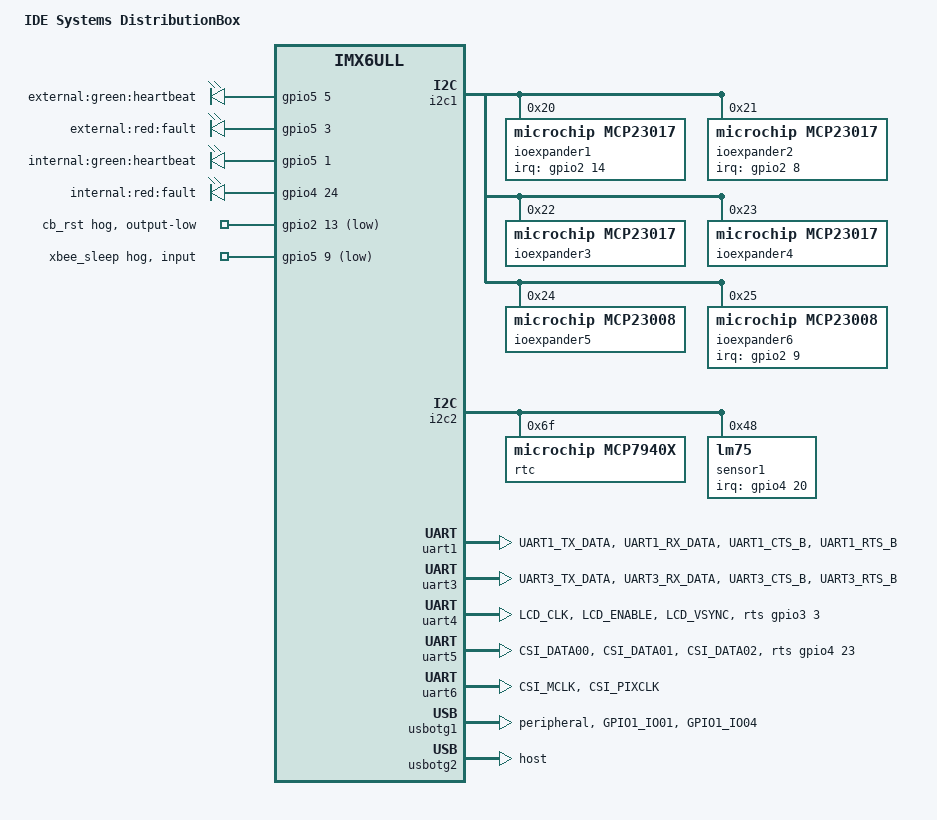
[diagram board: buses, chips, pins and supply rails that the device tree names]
/*
 * Copyright (C) 2018 Amotus Solutions, Inc.
 */

#include "imx6ull-dart6ul.dtsi"
#include "imx6ull-dart6ul-emmc-wifi.dtsi"
#include "imx6ull-dart6ul-ethernet.dtsi"

/ {
	model = "IDE Systems DistributionBox";
	compatible = "ide,imx6ull-dart6ul-ide", "fsl,imx6ull";

	chosen {
		stdout-path = &uart1;
	};

	leds {
		pinctrl-names = "default";
		pinctrl-0 = <&pinctrl_led1 &pinctrl_led2>;

		compatible = "gpio-leds";

		led1 {
			label = "external:green:heartbeat";
			gpios = <&gpio5 5 GPIO_ACTIVE_HIGH>;
			linux,default-trigger = "heartbeat";
			default-state = "on";
		};

		led2 {
			label = "external:red:fault";
			gpios = <&gpio5 3 GPIO_ACTIVE_HIGH>;
			default-state = "on";
		};

		led3 {
			label = "internal:green:heartbeat";
			gpios = <&gpio5 1 GPIO_ACTIVE_HIGH>;
			linux,default-trigger = "heartbeat";
			default-state = "on";
		};

		led4 {
			label = "internal:red:fault";
			gpios = <&gpio4 24 GPIO_ACTIVE_HIGH>;
			default-state = "on";
		};
	};
};

&wdog1 {
	pinctrl-names = "default";
	pinctrl-0 = <&pinctrl_wdog>;
	fsl,ext-reset-output;
};

&i2c1 {
	/* breaker status inputs 1-16 */
	ioexpander1: ioexpander@20 {
		compatible = "microchip,mcp23017";
		gpio-controller;
		#gpio-cells = <2>;
		reg = <0x20>;
		gpio-line-names = "BR1", "BR2", "BR3", "BR4", "BR5", "BR6", "BR7", "BR8",
				  "BR9", "BR10", "BR11", "BR12", "BR13", "BR14", "BR15", "BR16";

		interrupt-parent = <&gpio2>;
		interrupts = <14 IRQ_TYPE_LEVEL_LOW>;
		interrupt-controller;
		#interrupt-cells = <2>;
		microchip,irq-mirror;
	};

	/* breaker status inputs 17-32 */
	ioexpander2: ioexpander@21 {
		compatible = "microchip,mcp23017";
		gpio-controller;
		#gpio-cells = <2>;
		reg = <0x21>;
		gpio-line-names = "BR17", "BR18", "BR19", "BR20", "BR21", "BR22", "BR23", "BR24",
				  "BR25", "BR26", "BR27", "BR28", "BR29", "BR30", "BR31", "BR32";

		interrupt-parent = <&gpio2>;
		interrupts = <8 IRQ_TYPE_LEVEL_LOW>;
		interrupt-controller;
		#interrupt-cells = <2>;
		microchip,irq-mirror;
	};

	/* contactor control outputs 1-16 */
	ioexpander3: ioexpander@22 {
		compatible = "microchip,mcp23017";
		gpio-controller;
		#gpio-cells = <2>;
		reg = <0x22>;
		gpio-line-names = "CON1", "CON2", "CON3", "CON4", "CON5", "CON6", "CON7", "CON8",
				  "CON9", "CON10", "CON11", "CON12", "CON13", "CON14", "CON15", "CON16";
	};

	/* contactor control outputs 17-32 */
	ioexpander4: ioexpander@23 {
		compatible = "microchip,mcp23017";
		gpio-controller;
		#gpio-cells = <2>;
		reg = <0x23>;
		gpio-line-names = "CON17", "CON18", "CON19", "CON20", "CON21", "CON22", "CON23", "CON24",
				  "CON25", "CON26", "CON27", "CON28", "CON29", "CON30", "CON31", "CON32";
	};

	/* relay outputs 1-8 */
	ioexpander5: ioexpander@24 {
		compatible = "microchip,mcp23008";
		gpio-controller;
		#gpio-cells = <2>;
		reg = <0x24>;
		gpio-line-names = "RL1", "RL2", "RL3", "RL4", "RL5", "RL6", "RL7", "RL8";
	};

	/* switch inputs 1-8 */
	ioexpander6: ioexpander6@25 {
		compatible = "microchip,mcp23008";
		gpio-controller;
		#gpio-cells = <2>;
		reg = <0x25>;
		gpio-line-names = "SW1", "SW2", "SW3", "SW4", "SW5", "SW6", "SW7", "SW8";

		interrupt-parent = <&gpio2>;
		interrupts = <9 IRQ_TYPE_LEVEL_LOW>;
		interrupt-controller;
		#interrupt-cells = <2>;
	};
};

&i2c2 {
	rtc: mcp7940x@6f {
		compatible = "microchip,mcp7940x";
		reg = <0x6f>;
	};

	sensor1: lm75@48 {
		compatible = "lm75";
		reg = <0x48>;
		interrupt-parent = <&gpio4>;
		interrupts = <20 IRQ_TYPE_LEVEL_LOW>;
		#thermal-sensor-cells = <0>;
	};
};

/* ttymxc0 uart - debug uart */
&uart1 {
	pinctrl-names = "default";
	pinctrl-0 = <&pinctrl_uart1>;
	uart-has-rtscts;
	status = "okay";
};

/* ttymxc2 uart - xbee */
&uart3 {
	pinctrl-names = "default";
	pinctrl-0 = <&pinctrl_uart3>;
	uart-has-rtscts;
	status = "okay";
};

/* ttymxc3 uart - rs485-1 */
&uart4 {
	pinctrl-names = "default";
	pinctrl-0 = <&pinctrl_uart4>;
	linux,rs485-enabled-at-boot-time;
	rts-gpios = <&gpio3 3 GPIO_ACTIVE_HIGH>;
	status = "okay";
};

/* ttymxc4 uart - rs485-2 */
&uart5 {
	pinctrl-names = "default";
	pinctrl-0 = <&pinctrl_uart5>;
	linux,rs485-enabled-at-boot-time;
	rts-gpios = <&gpio4 23 GPIO_ACTIVE_HIGH>;
	status = "okay";
};

/* ttymxc5 uart - gps */
&uart6 {
	pinctrl-names = "default";
	pinctrl-0 = <&pinctrl_uart6>;
	status = "okay";
};

/* DTE mode */
/* /\* ttymxc3 uart - rs485-1 *\/ */
/* &uart4 { */
/* 	pinctrl-names = "default"; */
/* 	pinctrl-0 = <&pinctrl_uart4>; */
/* 	linux,rs485-enabled-at-boot-time; */
/* 	uart-has-rtscts; */
/* 	fsl,dte-mode; */
/* 	status = "okay"; */
/* }; */

/* /\* ttymxc4 uart - rs485-2 *\/ */
/* &uart5 { */
/* 	pinctrl-names = "default"; */
/* 	pinctrl-0 = <&pinctrl_uart5>; */
/* 	linux,rs485-enabled-at-boot-time; */
/* 	uart-has-rtscts; */
/* 	fsl,dte-mode; */
/* 	status = "okay"; */
/* }; */

&usbotg1 {
	pinctrl-names = "default";
	pinctrl-0 = <&pinctrl_usbotg1>;
	dr_mode = "peripheral";
	status = "okay";
};

&usbotg2 {
	dr_mode = "host";
	disable-over-current;
	status = "okay";
};

&gpio1 {
	gpio-line-names = "CB_GPIOF", "", "", "", "", "CB_GPIOE", "", "",
	"", "", "", "", "", "", "", "",
	"", "", "", "", "", "", "", "",
	"", "", "", "", "", "", "", "";
};

&gpio2 {
	gpio-line-names = "", "", "", "", "", "", "", "",
	"", "", "CB_ID0", "CB_ID1", "CB_GPIOA", "CB_RST", "", "CB_GPIOB",
	"", "", "", "", "", "", "", "",
	"", "", "", "", "", "", "", "";

	cb_rst {
		gpios = <13 GPIO_ACTIVE_LOW>;
		gpio-hog;
		output-low;
	};
};

&gpio4 {
	gpio-line-names = "", "", "", "", "", "", "", "",
	"", "", "", "", "", "", "", "",
	"", "", "", "", "", "", "", "",
	"", "METER_PC7", "METER_PC8", "METER_PC10", "METER_PC9", "", "", "";
};

&gpio5 {
	gpio-line-names = "", "", "", "", "", "", "", "",
	"XBEE_RST", "XBEE_SLEEP", "", "", "", "", "", "",
	"", "", "", "", "", "", "", "",
	"", "", "", "", "", "", "", "";

	xbee_sleep {
		gpios = <9 GPIO_ACTIVE_LOW>;
		gpio-hog;
		input;
	};
};

&iomuxc {
	pinctrl-names = "default";
	pinctrl-0 = <&pinctrl_hog1>;

	pinctrl_hog1: hog1grp {
		fsl,pins = <
		/* Control board gpios */
		MX6UL_PAD_ENET2_RX_DATA0__GPIO2_IO08   0x1b0b0 /* J1-37: CB_INT1 */
		MX6UL_PAD_ENET2_RX_DATA1__GPIO2_IO09   0x1b0b0 /* J1-39: CB_INT2 */
		MX6UL_PAD_ENET2_RX_EN__GPIO2_IO10      0x1b0b0 /* J1-31: CB_ID0 */
		MX6UL_PAD_ENET2_TX_DATA0__GPIO2_IO11   0x1b0b0 /* J1-43: CB_ID1 */
		MX6UL_PAD_ENET2_TX_DATA1__GPIO2_IO12   0x1b0b0 /* J1-35: CB_GPIOA */
		MX6UL_PAD_ENET2_TX_EN__GPIO2_IO13      0x1b0b0 /* J1-45: CB_RST */
		MX6UL_PAD_ENET2_TX_CLK__GPIO2_IO14     0x1b0b0 /* J1-57: CB_INT0 */
		MX6UL_PAD_ENET2_RX_ER__GPIO2_IO15      0x1b0b0 /* J1-55: CB_GPIOB */
		/* These pads are used internally by the ethernet phy */
		/* MX6UL_PAD_GPIO1_IO06__GPIO1_IO06       0x1b0b0 /\* J2-75: CB_GPIOC *\/ */
		/* MX6UL_PAD_GPIO1_IO07__GPIO1_IO07       0x1b0b0 /\* J2-79: CB_GPIOD *\/ */
		MX6UL_PAD_GPIO1_IO05__GPIO1_IO05       0x1b0b0 /* J2-27: CB_GPIOE */
		MX6UL_PAD_GPIO1_IO00__GPIO1_IO00       0x1b0b0 /* J2-60: CB_GPIOF */
		/* Meter gpios */
		MX6UL_PAD_CSI_DATA04__GPIO4_IO25       0x1b0b0 /* METER_PC7 */
		MX6UL_PAD_CSI_DATA05__GPIO4_IO26       0x1b0b0 /* METER_PC8 */
		MX6UL_PAD_CSI_DATA06__GPIO4_IO27       0x1b0b0 /* METER_PC10 */
		MX6UL_PAD_CSI_DATA07__GPIO4_IO28       0x1b0b0 /* METER_PC9 */
		>;
	};

	pinctrl_uart1: uart1grp {
		fsl,pins = <
		MX6UL_PAD_UART1_TX_DATA__UART1_DCE_TX	0x1b0b1
		MX6UL_PAD_UART1_RX_DATA__UART1_DCE_RX	0x1b0b1
		MX6UL_PAD_UART1_CTS_B__UART1_DCE_CTS	0x1b0b1
		MX6UL_PAD_UART1_RTS_B__UART1_DCE_RTS	0x1b0b1
		>;
	};

	pinctrl_sensor: sensorgrp {
		fsl,pins = <
		MX6UL_PAD_CSI_HSYNC__GPIO4_IO20	       0x1b0b0 /* Over temperature irq */
		>;
	};

	pinctrl_led1: ledgrp {
		fsl,pins = <
		MX6UL_PAD_CSI_DATA03__GPIO4_IO24       0x1b0b0 /* Internal red led */
		>;
	};

	pinctrl_usbotg1: usbotg1grp {
		fsl,pins = <
		MX6UL_PAD_GPIO1_IO01__USB_OTG1_OC      0x1b0b0
		MX6UL_PAD_GPIO1_IO04__USB_OTG1_PWR     0x80000000
		>;
	};

	pinctrl_uart3: uart3grp {
		fsl,pins = <
		MX6UL_PAD_UART3_TX_DATA__UART3_DCE_TX	0x1b0b1 /* J1-59 */
		MX6UL_PAD_UART3_RX_DATA__UART3_DCE_RX	0x1b0b1 /* J1-61 */
		MX6UL_PAD_UART3_CTS_B__UART3_DCE_CTS	0x1b0b1 /* J1-67 */
		MX6UL_PAD_UART3_RTS_B__UART3_DCE_RTS	0x1b0b1 /* J1-69 */
		>;
	};

	pinctrl_uart4: uart4grp {
		fsl,pins = <
		MX6UL_PAD_LCD_CLK__UART4_DCE_TX		0x1b0b1 /* J1-49 */
		MX6UL_PAD_LCD_ENABLE__UART4_DCE_RX	0x1b0b1 /* J1-50 */
		MX6UL_PAD_LCD_VSYNC__GPIO3_IO03         0x1b0b1 /* J1-52 */
		>;
	};

	pinctrl_uart5: uart5grp {
		fsl,pins = <
		MX6UL_PAD_CSI_DATA00__UART5_DCE_TX	0x1b0b1 /* J1-88 */
		MX6UL_PAD_CSI_DATA01__UART5_DCE_RX	0x1b0b1 /* J1-80 */
		MX6UL_PAD_CSI_DATA02__GPIO4_IO23 	0x1b0b1 /* J1-90 */
		>;
	};

	/* DTE mode */
	/* pinctrl_uart4: uart4grp { */
	/* 	fsl,pins = < */
	/* 	MX6UL_PAD_LCD_CLK__UART4_DTE_RX         0x1b0b1 /\* J1-49 *\/ */
	/* 	MX6UL_PAD_LCD_ENABLE__UART4_DTE_TX      0x1b0b1 /\* J1-50 *\/ */
	/* 	MX6UL_PAD_LCD_HSYNC__UART4_DTE_RTS      0x1b0b1 /\* J1-54 *\/ */
	/* 	>; */
	/* }; */

	/* pinctrl_uart5: uart5grp { */
	/* 	fsl,pins = < */
	/* 	MX6UL_PAD_CSI_DATA00__UART5_DTE_RX      0x1b0b1 /\* J1-88 *\/ */
	/* 	MX6UL_PAD_CSI_DATA01__UART5_DTE_TX      0x1b0b1 /\* J1-80 *\/ */
	/* 	MX6UL_PAD_CSI_DATA03__UART5_DTE_RTS     0x1b0b1 /\* J2-42 *\/ */
	/* 	>; */
	/* }; */

	pinctrl_uart6: uart6grp {
		fsl,pins = <
		MX6UL_PAD_CSI_MCLK__UART6_DCE_TX	0x1b0b1 /* J1-76 */
		MX6UL_PAD_CSI_PIXCLK__UART6_DCE_RX	0x1b0b1 /* J1-64 */
		>;
	};

	pinctrl_wdog: wdoggrp {
		fsl,pins = <
		MX6UL_PAD_GPIO1_IO08__WDOG1_WDOG_B	0x78b0
		>;
	};
};

&iomuxc_snvs {
	pinctrl-names = "default";
	pinctrl-0 = <&pinctrl_xbee>;

	pinctrl_led2: ledgrp {
		fsl,pins = <
		MX6ULL_PAD_SNVS_TAMPER5__GPIO5_IO05	0x1b0b0 /* External green led */
		MX6ULL_PAD_SNVS_TAMPER3__GPIO5_IO03	0x1b0b0 /* External red led */
		MX6ULL_PAD_SNVS_TAMPER1__GPIO5_IO01	0x1b0b0 /* Internal green led */
		>;
	};

	pinctrl_xbee: xbeegrp {
		fsl,pins = <
		MX6ULL_PAD_SNVS_TAMPER8__GPIO5_IO08	0x1b0b0 /* XBee reset */
		MX6ULL_PAD_SNVS_TAMPER9__GPIO5_IO09	0x1b0b0 /* XBee sleep */
		>;
	};

	pinctrl_alarm: alarmgrp {
		fsl,pins = <
		MX6ULL_PAD_SNVS_TAMPER7__GPIO5_IO07	0x1b0b0 /* RTC alarm */
		>;
	};
};
